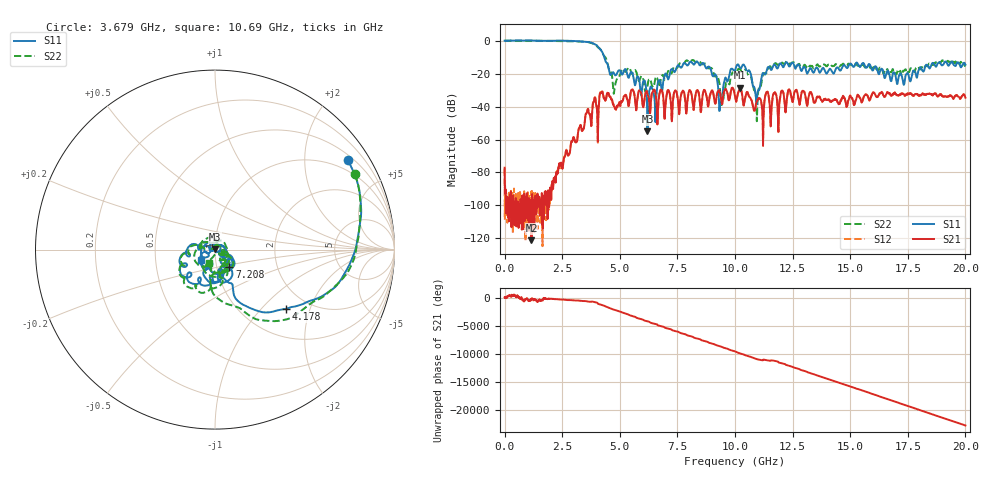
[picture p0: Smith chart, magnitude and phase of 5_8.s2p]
#  HZ  S  RI  R  50.00
! Rohde & Schwarz Vector Network Analyzer
! Rohde-Schwarz,ZNB20-2Port,1311601062102128,3.60
! Created: UTC 4/29/2024, 2:53:49 PM
! freq[Hz]  re:S11  im:S11  re:S21  im:S21  re:S12  im:S12  re:S22  im:S22
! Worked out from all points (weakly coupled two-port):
!   2007 points, 100 kHz to 20 GHz, reference 50 ohm
!   highest |S21| = -28.58 dB at 10.22 GHz (marker M1); lowest = -121.1 dB at 1.167 GHz (marker M2)
!   lowest |S11| = -55.0 dB at 6.201 GHz (marker M3), VSWR 1.00, Z = 49.9 + j0.141 ohm
!   |S11| at or under -10 dB: 4.324 GHz to end of sweep
!   |S22| runs from -48.9 to 0.1 dB; largest |S21 - S12| = 0.0021
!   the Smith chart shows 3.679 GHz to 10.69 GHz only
!   S11 on the Smith chart (normalised r, x): 3.679 GHz: 0.64, +3.14; 4.178 GHz: 1.55, -1.39; 7.208 GHz: 1.15, -0.23; 10.69 GHz: 0.85, -0.10
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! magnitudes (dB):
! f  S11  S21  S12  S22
! 100 kHz  0.0  -77.1  -77.5  0.1
! 1.167 GHz  0.0  -121.1  -96.6  0.0
! 2.223 GHz  -0.1  -85.4  -84.2  -0.3
! 3.34 GHz  -0.6  -54.0  -53.6  -0.6
! 3.679 GHz  -1.0  -44.6  -44.8  -1.1
! 4.178 GHz  -5.8  -31.9  -31.9  -5.7
! 4.766 GHz  -20.3  -40.3  -40.3  -29.7
! 5.374 GHz  -22.5  -39.7  -39.6  -16.4
! 6.201 GHz  -55.0  -32.3  -32.4  -27.8
! 6.67 GHz  -24.7  -39.0  -39.1  -25.5
! 7.208 GHz  -18.0  -36.8  -37.0  -20.0
! 8.624 GHz  -13.7  -31.3  -31.3  -14.2
! 9.153 GHz  -20.6  -38.1  -38.1  -21.9
! 9.382 GHz  -36.2  -34.2  -34.3  -35.0
! 10 GHz  -18.1  -33.5  -33.5  -20.2
! 10.22 GHz  -16.5  -28.6  -28.5  -17.4
! 10.69 GHz  -20.5  -35.5  -35.5  -21.6
! 10.93 GHz  -37.5  -37.6  -37.6  -37.7
! 11.71 GHz  -14.5  -31.7  -31.8  -14.1
! 13.34 GHz  -18.0  -32.7  -32.7  -15.3
! 16.67 GHz  -19.1  -31.8  -31.8  -20.5
! 20 GHz  -14.6  -34.6  -34.7  -14.3
